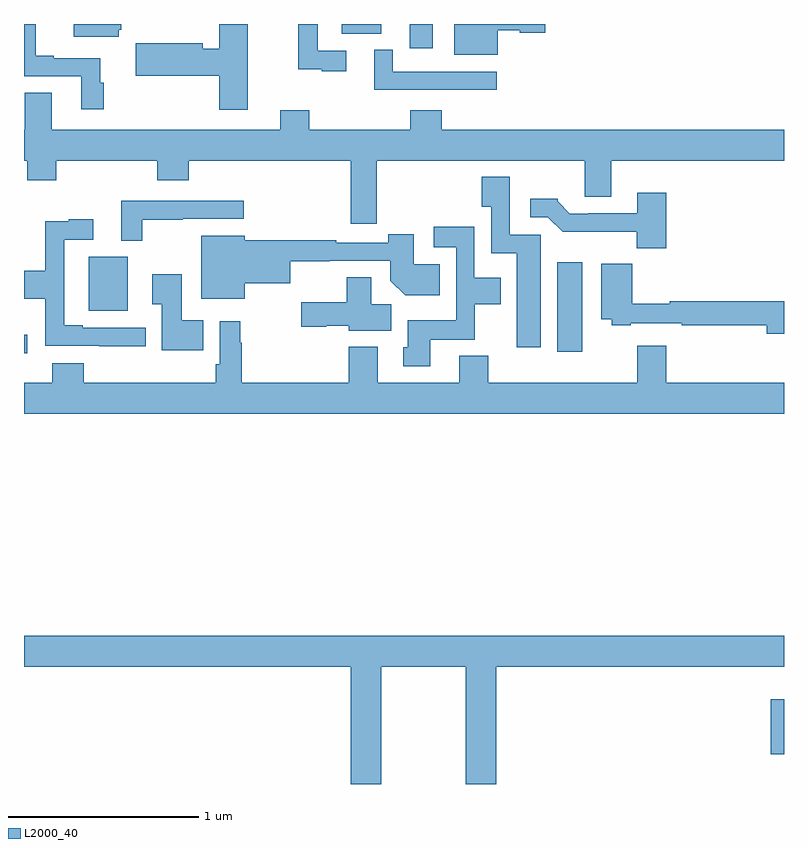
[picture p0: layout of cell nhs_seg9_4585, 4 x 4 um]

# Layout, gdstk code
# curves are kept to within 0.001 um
import gdstk
lib = gdstk.Library(unit=1e-6, precision=1e-09)
def R(c, l, rs):  # rectangles x0, y0, x1, y1
    for r in rs: c.add(gdstk.rectangle(r[:2], r[2:], *l))
def P(c, l, *ps):  # polygons
    for p in ps: c.add(gdstk.Polygon(p, *l))
L2000_40 = (2000, 40)

nhs_seg9_4585 = lib.new_cell('nhs_seg9_4585')
R(nhs_seg9_4585, L2000_40, [(378.929,1166.657,379,1166.947), (375,1168.766,375.016,1168.865), (377.807,1168.776,377.938,1169.245), (375.341,1168.991,375.547,1169.275), (377.03,1170.372,377.152,1170.5), (376.673,1170.449,376.879,1170.5)])
P(nhs_seg9_4585, L2000_40, [(376.177,1170.5),(376.028,1170.5),(376.028,1170.37),(375.94,1170.37),(375.94,1170.398),(375.588,1170.398),(375.588,1170.227),(376.028,1170.227),(376.028,1170.048),(376.177,1170.048)],
  [(377.494,1170.467),(377.61,1170.467),(377.61,1170.455),(377.743,1170.455),(377.743,1170.5),(377.264,1170.5),(377.264,1170.338),(377.494,1170.338)],
  [(375.499,1170.471),(375.512,1170.471),(375.512,1170.5),(375.263,1170.5),(375.263,1170.434),(375.499,1170.434)],
  [(375.419,1170.191),(375.401,1170.191),(375.401,1170.321),(375.157,1170.321),(375.157,1170.334),(375.061,1170.334),(375.061,1170.5),(375,1170.5),(375,1170.225),(375.302,1170.225),(375.302,1170.051),(375.419,1170.051)],
  [(376.696,1170.36),(376.545,1170.36),(376.545,1170.5),(376.444,1170.5),(376.444,1170.263),(376.568,1170.263),(376.568,1170.252),(376.696,1170.252)],
  [(377.488,1170.249),(376.941,1170.249),(376.941,1170.364),(376.844,1170.364),(376.844,1170.153),(377.488,1170.153)],
  [(376.856,1169.78),(377.951,1169.78),(377.951,1169.59),(378.091,1169.59),(378.091,1169.78),(379,1169.78),(379,1169.944),(377.198,1169.944),(377.198,1170.046),(377.033,1170.046),(377.033,1169.944),(376.502,1169.944),(376.502,1170.046),(376.349,1170.046),(376.349,1169.944),(375.145,1169.944),(375.145,1170.139),(375.005,1170.139),(375.005,1169.944),(375,1169.944),(375,1169.78),(375.017,1169.78),(375.017,1169.678),(375.17,1169.678),(375.17,1169.78),(375.701,1169.78),(375.701,1169.678),(375.866,1169.678),(375.866,1169.78),(376.72,1169.78),(376.72,1169.448),(376.856,1169.448)],
  [(377.719,1169.391),(377.556,1169.391),(377.556,1169.695),(377.408,1169.695),(377.408,1169.539),(377.46,1169.539),(377.46,1169.294),(377.594,1169.294),(377.594,1168.8),(377.719,1168.8)],
  [(378.38,1169.611),(378.227,1169.611),(378.227,1169.505),(377.971,1169.505),(377.971,1169.502),(377.872,1169.502),(377.808,1169.566),(377.808,1169.581),(377.664,1169.581),(377.664,1169.484),(377.757,1169.484),(377.836,1169.406),(378.225,1169.406),(378.225,1169.321),(378.38,1169.321)],
  [(375.622,1169.47),(375.836,1169.47),(375.836,1169.475),(376.156,1169.475),(376.156,1169.571),(375.512,1169.571),(375.512,1169.36),(375.622,1169.36)],
  [(375.64,1168.902),(375.31,1168.902),(375.31,1168.915),(375.213,1168.915),(375.213,1169.364),(375.364,1169.364),(375.364,1169.473),(375.236,1169.473),(375.236,1169.462),(375.112,1169.462),(375.112,1169.202),(375,1169.202),(375,1169.054),(375.112,1169.054),(375.112,1168.806),(375.397,1168.806),(375.397,1168.805),(375.64,1168.805)],
  [(377.137,1168.838),(377.373,1168.838),(377.373,1169.024),(377.509,1169.024),(377.509,1169.164),(377.37,1169.164),(377.37,1169.434),(377.157,1169.434),(377.157,1169.325),(377.274,1169.325),(377.274,1168.942),(377.021,1168.942),(377.021,1168.8),(376.997,1168.8),(376.997,1168.698),(377.137,1168.698)],
  [(376.162,1169.135),(376.402,1169.135),(376.402,1169.252),(376.928,1169.253),(376.928,1169.15),(377.006,1169.072),(377.189,1169.072),(377.189,1169.236),(377.05,1169.236),(377.05,1169.393),(376.916,1169.393),(376.916,1169.349),(376.643,1169.349),(376.643,1169.362),(376.162,1169.362),(376.162,1169.386),(375.932,1169.386),(375.932,1169.054),(376.162,1169.054)],
  [(379,1169.042),(378.398,1169.042),(378.398,1169.027),(378.2,1169.027),(378.2,1169.239),(378.038,1169.239),(378.038,1168.946),(378.093,1168.946),(378.093,1168.914),(378.193,1168.914),(378.193,1168.926),(378.463,1168.926),(378.463,1168.914),(378.908,1168.914),(378.908,1168.871),(379,1168.871)],
  [(375.944,1168.942),(375.829,1168.942),(375.829,1169.182),(375.675,1169.182),(375.675,1169.026),(375.725,1169.026),(375.725,1168.784),(375.944,1168.784)],
  [(376.933,1169.024),(376.828,1169.024),(376.828,1169.168),(376.699,1169.168),(376.699,1169.035),(376.458,1169.035),(376.458,1168.906),(376.59,1168.906),(376.59,1168.913),(376.71,1168.913),(376.71,1168.886),(376.933,1168.886)],
  [(379,1168.612),(378.38,1168.612),(378.38,1168.807),(378.227,1168.807),(378.227,1168.612),(377.444,1168.612),(377.444,1168.753),(377.291,1168.753),(377.291,1168.612),(376.861,1168.612),(376.861,1168.801),(376.709,1168.801),(376.709,1168.612),(376.145,1168.612),(376.145,1168.823),(376.138,1168.823),(376.138,1168.936),(376.029,1168.936),(376.029,1168.708),(376.009,1168.708),(376.009,1168.612),(375.314,1168.612),(375.314,1168.714),(375.149,1168.714),(375.149,1168.612),(375,1168.612),(375,1168.448),(379,1168.448)],
  [(376.881,1167.116),(377.326,1167.116),(377.326,1166.5),(377.486,1166.5),(377.486,1167.116),(379,1167.116),(379,1167.28),(375,1167.28),(375,1167.116),(376.721,1167.116),(376.721,1166.5),(376.881,1166.5)])

lib.write_gds('nhs_seg9_4585.gds')
